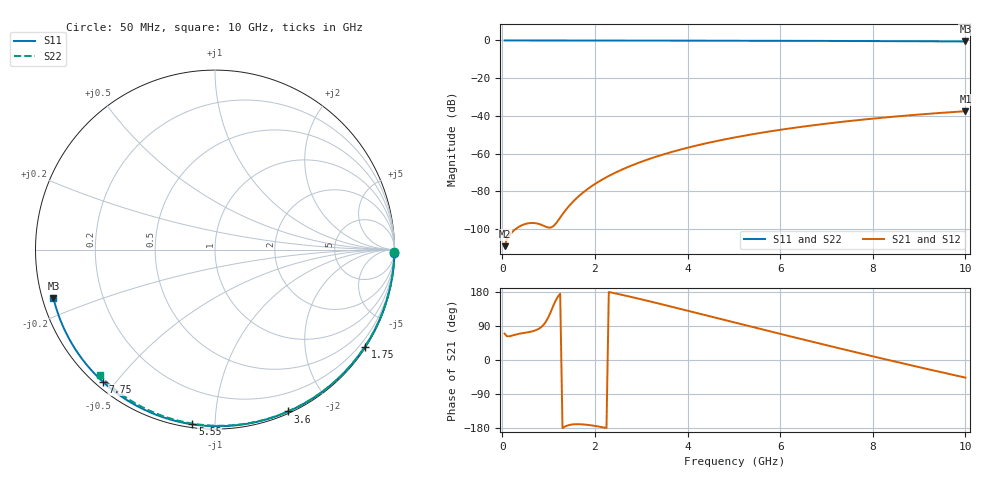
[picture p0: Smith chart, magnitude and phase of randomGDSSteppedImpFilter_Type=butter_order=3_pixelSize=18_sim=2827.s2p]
! freq	dB(S11)	phase(S11)	dB(S12)	phase(S12)
!  dB(S21)	phase(S21)	dB(S22)	phase(S22)
!S-par simulation data
#  GHz  S  DB  R 50
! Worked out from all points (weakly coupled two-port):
!   200 points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, 50 MHz to 10 GHz, reference 50 ohm
!   highest |S21| = -37.54 dB at 10 GHz (marker M1); lowest = -109.2 dB at 50 MHz (marker M2)
!   lowest |S11| = -0.5 dB at 10 GHz (marker M3), VSWR 32.21, Z = 1.59 - j7.33 ohm
!   |S11| at or under -10 dB: nowhere
!   |S22| runs from -0.4 to 0.0 dB; largest |S21 - S12| = 0
!   S11 on the Smith chart (normalised r, x): 50 MHz: open; 1.75 GHz: 0.03, -3.39; 3.6 GHz: 0.02, -1.55; 5.55 GHz: 0.02, -0.88; 7.75 GHz: 0.02, -0.46; 10 GHz: 0.03, -0.15
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0.05  -0.00 -1.0  -109.16 69.6  -109.16 69.6  -0.00 -0.8
0.45  -0.01 -8.6  -97.77 71.1  -97.77 71.1  -0.00 -6.9
0.85  -0.02 -16.2  -97.88 87.9  -97.88 87.9  -0.01 -12.9
1.3  -0.03 -24.6  -92.24 -179.6  -92.24 -179.6  -0.02 -19.6
1.75  -0.04 -32.9  -80.58 -170.0  -80.58 -170.0  -0.03 -26.3
1.8  -0.04 -33.8  -79.61 -170.6  -79.61 -170.6  -0.03 -27.0
1.95  -0.05 -36.6  -76.98 -172.9  -76.98 -172.9  -0.04 -29.3
2.15  -0.05 -40.2  -73.92 -177.1  -73.92 -177.1  -0.04 -32.2
2.5  -0.06 -46.5  -69.47 174.2  -69.47 174.2  -0.05 -37.3
2.9  -0.07 -53.6  -65.31 163.1  -65.31 163.1  -0.06 -43.0
3.4  -0.08 -62.3  -61.06 148.3  -61.06 148.3  -0.07 -50.1
3.6  -0.09 -65.7  -59.59 142.3  -59.59 142.3  -0.07 -52.9
4.3  -0.11 -77.4  -55.14 120.9  -55.14 120.9  -0.09 -62.5
5.05  -0.14 -89.5  -51.31 97.9  -51.31 97.9  -0.11 -72.5
5.55  -0.16 -97.4  -49.15 82.6  -49.15 82.6  -0.13 -79.0
6.1  -0.19 -105.8  -47.06 66.0  -47.06 66.0  -0.15 -86.0
6.7  -0.22 -114.9  -45.05 48.0  -45.05 48.0  -0.18 -93.5
7.2  -0.26 -122.3  -43.56 33.1  -43.56 33.1  -0.21 -99.6
7.75  -0.30 -130.4  -42.09 17.0  -42.09 17.0  -0.24 -106.2
8.35  -0.35 -139.1  -40.67 -0.4  -40.67 -0.4  -0.29 -113.2
9.2  -0.44 -151.5  -38.92 -24.5  -38.92 -24.5  -0.36 -123.2
10  -0.54 -163.3  -37.54 -46.4  -37.54 -46.4  -0.44 -132.6
